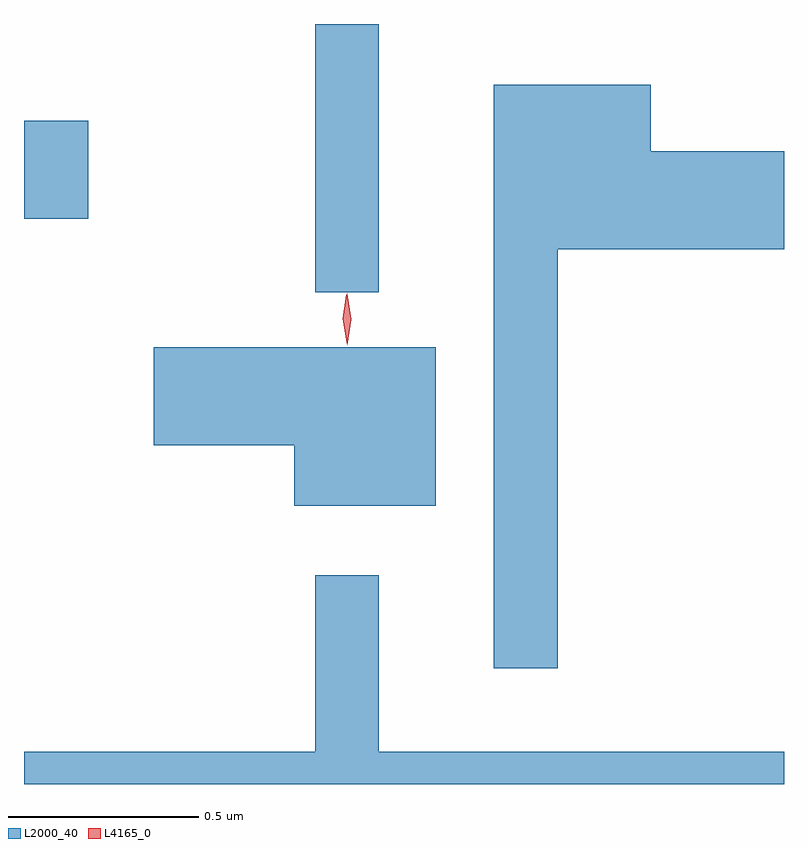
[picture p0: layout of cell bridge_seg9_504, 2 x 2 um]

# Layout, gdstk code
import gdstk
lib = gdstk.Library(unit=1e-6, precision=1e-09)
def R(c, l, rs):  # rectangles x0, y0, x1, y1
    for r in rs: c.add(gdstk.rectangle(r[:2], r[2:], *l))
def P(c, l, *ps):  # polygons
    for p in ps: c.add(gdstk.Polygon(p, *l))
L2000_40 = (2000, 40)
L4165_0 = (4165, 0)

bridge_seg9_504 = lib.new_cell('bridge_seg9_504')
R(bridge_seg9_504, L2000_40, [(469.171,1988.853,469.339,1989.559), (468.405,1989.046,468.574,1989.304)])
P(bridge_seg9_504, L2000_40, [(469.809,1988.966),(470.405,1988.966),(470.405,1989.224),(470.054,1989.224),(470.054,1989.399),(469.641,1989.399),(469.641,1987.863),(469.809,1987.863)],
  [(469.489,1988.709),(468.746,1988.709),(468.746,1988.451),(469.116,1988.451),(469.116,1988.291),(469.489,1988.291)],
  [(470.405,1987.644),(469.339,1987.644),(469.339,1988.108),(469.171,1988.108),(469.171,1987.644),(468.405,1987.644),(468.405,1987.559),(470.405,1987.559)])
P(bridge_seg9_504, L4165_0, [(469.254,1988.72),(469.254,1988.721),(469.244,1988.783),(469.253,1988.846),(469.254,1988.847),(469.254,1988.846),(469.264,1988.783),(469.255,1988.721)],
  [(469.255,1988.714),(469.246,1988.782),(469.255,1988.849),(469.255,1988.85),(469.256,1988.849),(469.266,1988.782),(469.256,1988.714),(469.256,1988.714)])

lib.write_gds('bridge_seg9_504.gds')
